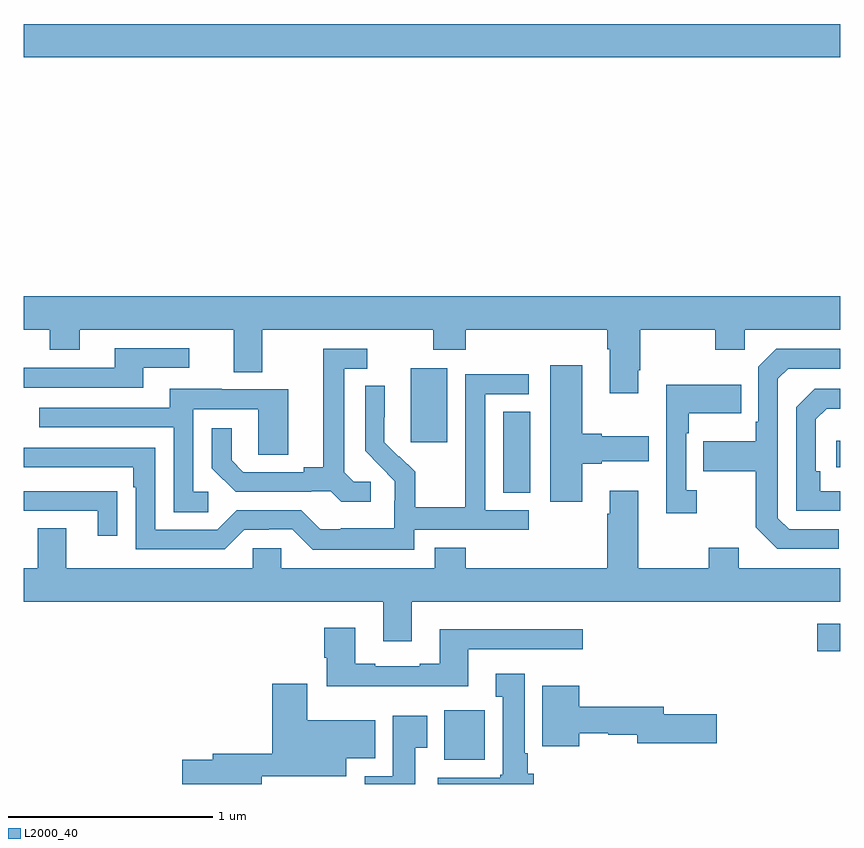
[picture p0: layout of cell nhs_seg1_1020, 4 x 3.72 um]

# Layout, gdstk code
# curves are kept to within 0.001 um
import gdstk
lib = gdstk.Library(unit=1e-6, precision=1e-09)
def R(c, l, rs):  # rectangles x0, y0, x1, y1
    for r in rs: c.add(gdstk.rectangle(r[:2], r[2:], *l))
def P(c, l, *ps):  # polygons
    for p in ps: c.add(gdstk.Polygon(p, *l))
L2000_40 = (2000, 40)

nhs_seg1_1020 = lib.new_cell('nhs_seg1_1020')
R(nhs_seg1_1020, L2000_40, [(169.061,524.318,169.258,524.56), (170.886,524.849,171,524.983), (169.349,525.625,169.48,526.022), (170.979,525.75,171,525.88), (168.896,525.873,169.075,526.234), (167,527.756,171,527.92)])
P(nhs_seg1_1020, L2000_40, [(170.011,526.225),(170.019,526.225),(170.019,526.424),(170.386,526.424),(170.386,526.325),(170.532,526.325),(170.532,526.424),(171,526.424),(171,526.588),(167,526.588),(167,526.424),(167.128,526.424),(167.128,526.325),(167.275,526.325),(167.275,526.424),(168.029,526.424),(168.029,526.216),(168.169,526.216),(168.169,526.424),(169.006,526.424),(169.006,526.325),(169.166,526.325),(169.166,526.424),(169.859,526.424),(169.859,526.328),(169.871,526.328),(169.871,526.113),(170.011,526.113)],
  [(167.587,526.236),(167.812,526.236),(167.812,526.332),(167.447,526.332),(167.447,526.236),(167,526.236),(167,526.14),(167.587,526.14)],
  [(168.7,525.678),(168.618,525.678),(168.571,525.725),(168.571,526.233),(168.682,526.233),(168.682,526.329),(168.467,526.329),(168.467,525.749),(168.371,525.749),(168.371,525.726),(168.076,525.726),(168.019,525.783),(168.019,525.94),(167.922,525.94),(167.922,525.746),(168.038,525.63),(168.41,525.63),(168.41,525.633),(168.504,525.633),(168.556,525.581),(168.7,525.581)],
  [(170.992,525.447),(170.748,525.447),(170.694,525.501),(170.694,526.182),(170.745,526.233),(171,526.233),(171,526.329),(170.685,526.329),(170.598,526.242),(170.598,525.973),(170.586,525.973),(170.586,525.877),(170.329,525.877),(170.329,525.73),(170.586,525.73),(170.586,525.457),(170.691,525.351),(170.992,525.351)],
  [(169.735,525.767),(169.831,525.767),(169.831,525.779),(170.062,525.779),(170.062,525.901),(169.831,525.901),(169.831,525.914),(169.735,525.914),(169.735,526.249),(169.58,526.249),(169.58,525.582),(169.735,525.582)],
  [(168.912,525.444),(169.474,525.444),(169.474,525.54),(169.26,525.54),(169.26,526.107),(169.474,526.107),(169.474,526.206),(169.164,526.206),(169.164,525.776),(169.162,525.776),(169.162,525.553),(168.917,525.553),(168.917,525.727),(168.84,525.804),(168.837,525.801),(168.767,525.872),(168.768,526.148),(168.672,526.148),(168.672,525.83),(168.818,525.682),(168.818,525.585),(168.816,525.585),(168.816,525.451),(168.553,525.451),(168.553,525.447),(168.453,525.447),(168.36,525.54),(168.045,525.54),(167.949,525.444),(167.646,525.444),(167.646,525.846),(167,525.846),(167,525.75),(167.537,525.75),(167.537,525.653),(167.55,525.653),(167.55,525.348),(167.985,525.348),(168.081,525.444),(168.2,525.444),(168.2,525.447),(168.315,525.447),(168.415,525.347),(168.912,525.347)],
  [(170.296,525.638),(170.244,525.638),(170.244,525.917),(170.257,525.917),(170.257,526.013),(170.513,526.013),(170.513,526.153),(170.148,526.153),(170.148,525.525),(170.296,525.525)],
  [(167.905,525.63),(167.832,525.63),(167.832,526.035),(168.15,526.035),(168.15,525.811),(168.295,525.811),(168.295,526.131),(167.971,526.131),(167.971,526.135),(167.717,526.135),(167.717,526.041),(167.077,526.041),(167.077,525.945),(167.736,525.945),(167.736,525.529),(167.905,525.529)],
  [(171,525.633),(170.9,525.633),(170.9,525.73),(170.88,525.73),(170.88,525.984),(170.933,526.037),(171,526.037),(171,526.134),(170.874,526.134),(170.784,526.044),(170.784,525.537),(171,525.537)],
  [(168.901,525.092),(171,525.092),(171,525.256),(170.503,525.256),(170.503,525.355),(170.356,525.355),(170.356,525.256),(170.011,525.256),(170.011,525.634),(169.871,525.634),(169.871,525.521),(169.859,525.521),(169.859,525.256),(169.166,525.256),(169.166,525.355),(169.013,525.355),(169.013,525.256),(168.261,525.256),(168.261,525.354),(168.123,525.354),(168.123,525.256),(167.209,525.256),(167.209,525.451),(167.069,525.451),(167.069,525.256),(167,525.256),(167,525.092),(168.761,525.092),(168.761,524.898),(168.901,524.898)],
  [(167.459,525.632),(167.357,525.632),(167.357,525.633),(167,525.633),(167,525.537),(167.363,525.537),(167.363,525.414),(167.459,525.414)],
  [(169.177,524.859),(169.738,524.859),(169.738,524.956),(169.037,524.956),(169.037,524.788),(168.941,524.788),(168.941,524.775),(168.721,524.775),(168.721,524.788),(168.625,524.788),(168.625,524.965),(168.473,524.965),(168.473,524.817),(168.485,524.817),(168.485,524.678),(169.177,524.678)],
  [(169.498,524.25),(169.468,524.25),(169.468,524.35),(169.453,524.35),(169.453,524.74),(169.313,524.74),(169.313,524.627),(169.346,524.627),(169.346,524.244),(169.333,524.244),(169.333,524.23),(169.029,524.23),(169.029,524.199),(169.498,524.199)],
  [(168.166,524.237),(168.58,524.237),(168.58,524.324),(168.721,524.324),(168.721,524.512),(168.388,524.512),(168.388,524.689),(168.218,524.689),(168.218,524.348),(167.927,524.348),(167.927,524.318),(167.778,524.318),(167.778,524.199),(168.166,524.199)],
  [(169.72,524.448),(169.863,524.448),(169.863,524.44),(170.006,524.44),(170.006,524.398),(170.395,524.398),(170.395,524.54),(170.134,524.54),(170.134,524.576),(169.72,524.576),(169.72,524.68),(169.541,524.68),(169.541,524.384),(169.72,524.384)],
  [(168.919,524.377),(168.976,524.377),(168.976,524.533),(168.809,524.533),(168.809,524.236),(168.67,524.236),(168.67,524.199),(168.919,524.199)])

lib.write_gds('nhs_seg1_1020.gds')
